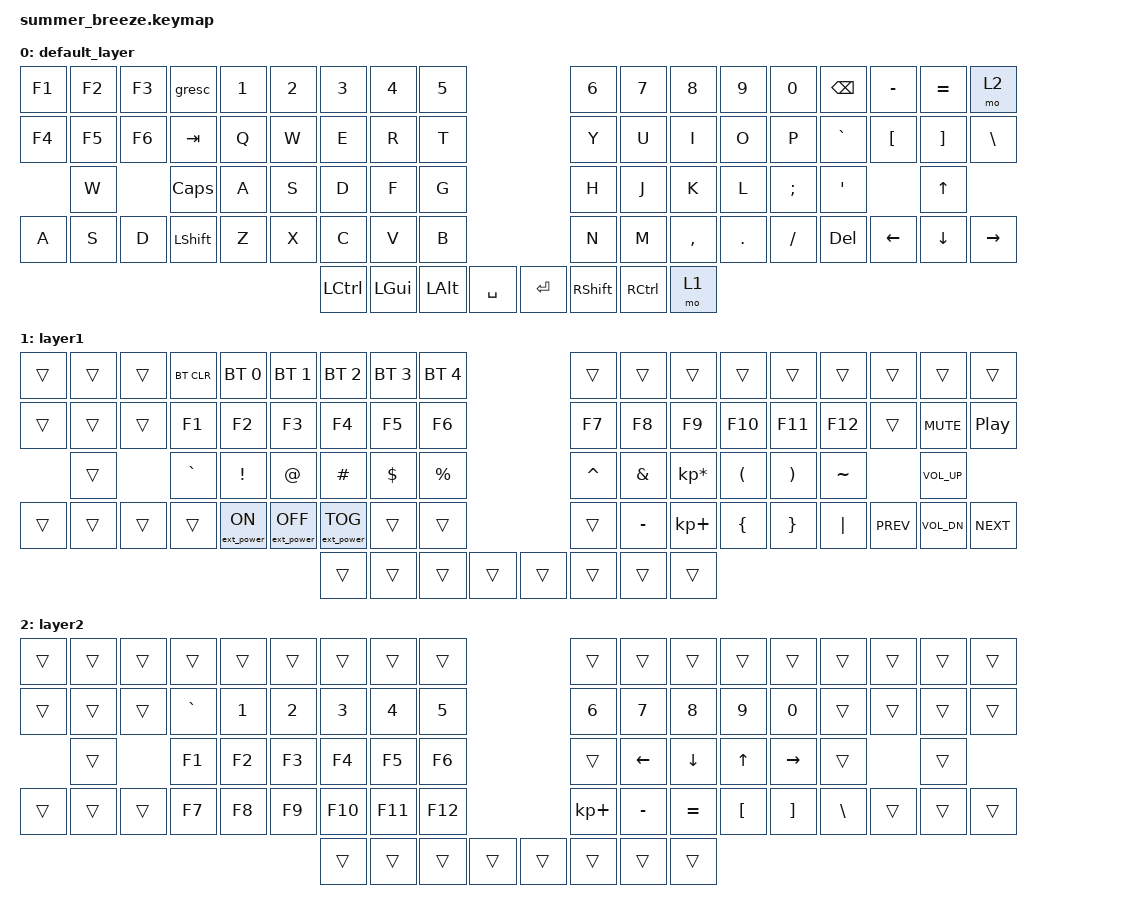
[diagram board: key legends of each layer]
/*
 * Copyright (c) 2020 The ZMK Contributors
 *
 * SPDX-License-Identifier: MIT
 */

#include <behaviors.dtsi>
#include <dt-bindings/zmk/keys.h>
#include <dt-bindings/zmk/bt.h>
#include <dt-bindings/zmk/ext_power.h>

/ {
	keymap {
		compatible = "zmk,keymap";

		default_layer {

// Ref: https://zmkfirmware.dev/docs/codes/

// ----------------------------------------------------------------------------------------------------------------------------------
// | F1 | F2 | F3 | |  ESC  |  1  |  2  |  3   |  4   |  5   |                   |  6   |  7    |  8    |  9   |   0   | BSPC  | |  -  |  =   |mo(2) |
// | F4 | F5 | F6 | |  TAB  |  Q  |  W  |  E   |  R   |  T   |                   |  Y   |  U    |  I    |  O   |   P   |   `   | |  [  |  ]   |  \   |
// |    | W  |    | |  CAPS |  A  |  S  |  D   |  F   |  G   |                   |  H   |  J    |  K    |  L   |   ;   |   '   | |     |  UP  |      |
// | A  | S  | D  | | SHIFT |  Z  |  X  |  C   |  V   |  B   |                   |  N   |  M    |  ,    |  .   |   /   |  DEL  | |  L  |  DN  |  R   |
//                                      | CTRL | GUI  | ALT  |  SPACE |  | ENTER |SHIFT | CTRL  | mo(1) |
			bindings = <
&kp F1  &kp F2  &kp F3  &gresc    &kp N1 &kp N2 &kp N3    &kp N4   &kp N5                     &kp N6    &kp N7     &kp N8    &kp N9  &kp N0   &kp BSPC    &kp MINUS &kp EQUAL  &mo 2
&kp F4  &kp F5  &kp F6  &kp TAB   &kp Q  &kp W  &kp E     &kp R    &kp T                      &kp Y     &kp U      &kp I     &kp O   &kp P    &kp GRAVE   &kp LBKT  &kp RBKT   &kp BSLH
        &kp W           &kp CAPS  &kp A  &kp S  &kp D     &kp F    &kp G                      &kp H     &kp J      &kp K     &kp L   &kp SEMI &kp APOS              &kp UP 
&kp A   &kp S   &kp D   &kp LSHFT &kp Z  &kp X  &kp C     &kp V    &kp B                      &kp N     &kp M      &kp COMMA &kp DOT &kp FSLH &kp DEL     &kp LEFT  &kp DOWN   &kp RIGHT
                                                &kp LCTRL &kp LGUI &kp LALT &kp SPACE &kp RET &kp RSHFT &kp RCTRL  &mo 1
			>;
		};

		layer1 {
// ---------------------------------------------------------------------------------------------------------------------------------- 
// |    |    |    | | BTCLR | BT1 | BT2 |  BT3 |  BT4 |  BT5 |                   |      |       |       |      |       |       | |      |      |      | 
// |    |    |    | |  F1   |  F2 |  F3 |  F4  |  F5  |  F6  |                   |  F7  |  F8   |  F9   |  F10 |  F11  |  F12  | |      | Mute | Play | 
// |    |    |    | |   `   |  !  |  @  |  #   |  $   |  %   |                   |  ^   |  &    |  *    |  (   |   )   |   ~   | |      | Vol+ |      | 
// |    |    |    | |       |     |     |      |      |      |                   |      |  _    |  +    |  {   |   }   |  "|"  | | Prev | Vol- | Next | 
//                                      |      |      |      |        |  |       |      |       |       |
			bindings = <
&trans  &trans  &trans  &bt BT_CLR &bt BT_SEL 0     &bt BT_SEL 1      &bt BT_SEL 2      &bt BT_SEL 3 &bt BT_SEL 4                 &trans    &trans    &trans          &trans    &trans    &trans    &trans     &trans        &trans    
&trans  &trans  &trans  &kp F1     &kp F2           &kp F3            &kp F4            &kp F5       &kp F6                       &kp F7    &kp F8    &kp F9          &kp F10   &kp F11   &kp F12   &trans     &kp C_MUTE    &kp C_PLAY_PAUSE 
        &trans          &kp GRAVE  &kp EXCL         &kp AT            &kp HASH          &kp DOLLAR   &kp PRCNT                    &kp CARET &kp AMPS  &kp KP_MULTIPLY &kp LPAR  &kp RPAR  &kp TILDE            &kp C_VOL_UP 
&trans  &trans  &trans  &trans     &ext_power EP_ON &ext_power EP_OFF &ext_power EP_TOG &trans       &trans                       &trans    &kp MINUS &kp KP_PLUS     &kp LBRC  &kp RBRC  &kp PIPE  &kp C_PREV &kp C_VOL_DN  &kp C_NEXT
                                                                      &trans            &trans       &trans    &trans   &trans    &trans    &trans    &trans
			>;
		};

		layer2 {
// ---------------------------------------------------------------------------------------------------------------------------------- 
// |    |    |    | |       |     |     |      |      |      |                   |      |       |       |      |       |       | |     |      |      | 
// |    |    |    | |   `   |  1  |  2  |  3   |  4   |  5   |                   |  6   |   7   |   8   |  9   |   0   |       | |     |      |      | 
// |    |    |    | |   F1  |  F2 |  F3 |  F4  |  F5  |  F6  |                   |      |   <-  |   ^   |  v   |  ->   |       | |     |      |      | 
// |    |    |    | |   F7  |  F8 |  F9 |  F10 |  F11 |  F12 |                   |  +   |   -   |   =   |  [   |   ]   |   \   | |     |      |      | 
//                                      |      |      |      |        |  |       |      |       |       |
			bindings = <
&trans  &trans  &trans  &trans    &trans &trans &trans  &trans  &trans                       &trans      &trans    &trans    &trans   &trans    &trans    &trans    &trans    &trans 
&trans  &trans  &trans  &kp GRAVE &kp N1 &kp N2 &kp N3  &kp N4  &kp N5                       &kp N6      &kp N7    &kp N8    &kp N9   &kp N0    &trans    &trans    &trans    &trans 
        &trans          &kp F1    &kp F2 &kp F3 &kp F4  &kp F5  &kp F6                       &trans      &kp LEFT  &kp DOWN  &kp UP   &kp RIGHT &trans              &trans           
&trans  &trans  &trans  &kp F7    &kp F8 &kp F9 &kp F10 &kp F11 &kp F12                      &kp KP_PLUS &kp MINUS &kp EQUAL &kp LBKT &kp RBKT  &kp BSLH  &trans    &trans    &trans 
                                                &trans  &trans  &trans    &trans   &trans    &trans      &trans    &trans
			>;
		};
	};
};
